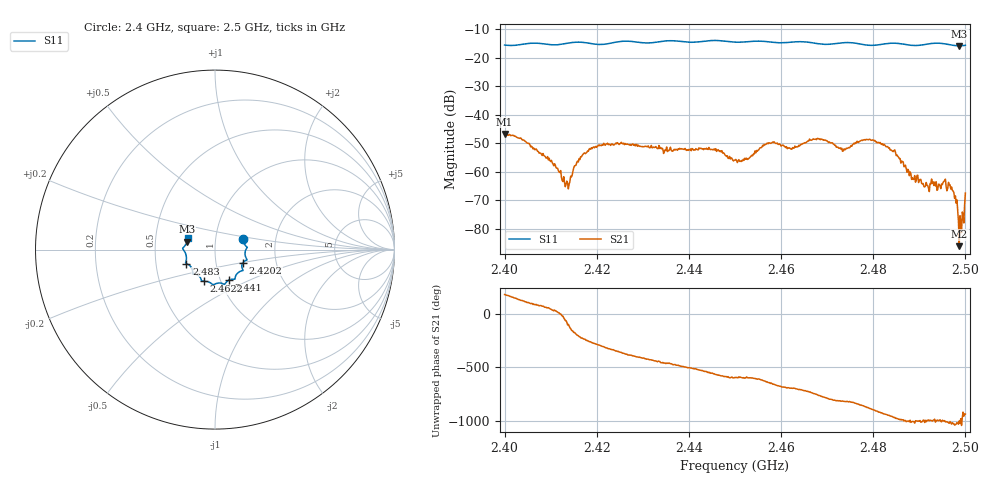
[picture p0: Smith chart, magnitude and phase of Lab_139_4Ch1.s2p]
# Hz S RI R 50
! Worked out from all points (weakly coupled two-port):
!   601 points, 2.4 GHz to 2.5 GHz, reference 50 ohm
!   highest |S21| = -46.69 dB at 2.4 GHz (marker M1); lowest = -86.0 dB at 2.4987 GHz (marker M2)
!   lowest |S11| = -15.8 dB at 2.4987 GHz (marker M3), VSWR 1.39, Z = 36.4 + j3.34 ohm
!   |S11| at or under -10 dB: start of sweep to end of sweep
!   S12 and S22 are empty: the file has one direction only
!   S11 on the Smith chart (normalised r, x): 2.4 GHz: 1.36, +0.17; 2.4202 GHz: 1.35, -0.20; 2.441 GHz: 1.09, -0.39; 2.4622 GHz: 0.83, -0.30; 2.483 GHz: 0.72, -0.12; 2.5 GHz: 0.73, +0.09
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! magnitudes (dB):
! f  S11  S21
! 2.4 GHz  -15.5  -46.7
! 2.4097 GHz  -15.4  -55.2
! 2.4135 GHz  -14.9  -63.2
! 2.4167 GHz  -14.6  -54.7
! 2.4202 GHz  -15.3  -50.9
! 2.4333 GHz  -14.4  -51.8
! 2.441 GHz  -14.6  -52.4
! 2.446 GHz  -13.9  -52.8
! 2.45 GHz  -14.5  -55.8
! 2.4572 GHz  -14.4  -50.1
! 2.4622 GHz  -14.5  -52.0
! 2.4667 GHz  -14.7  -48.9
! 2.4735 GHz  -14.7  -52.7
! 2.4787 GHz  -15.6  -48.7
! 2.483 GHz  -15.0  -51.1
! 2.4833 GHz  -15.0  -51.6
! 2.4888 GHz  -15.7  -62.6
! 2.4968 GHz  -15.5  -66.0
! 2.4977 GHz  -15.7  -69.3
! 2.4987 GHz  -15.8  -86.0
! 2.4992 GHz  -15.8  -81.3
! 2.5 GHz  -15.6  -67.4
